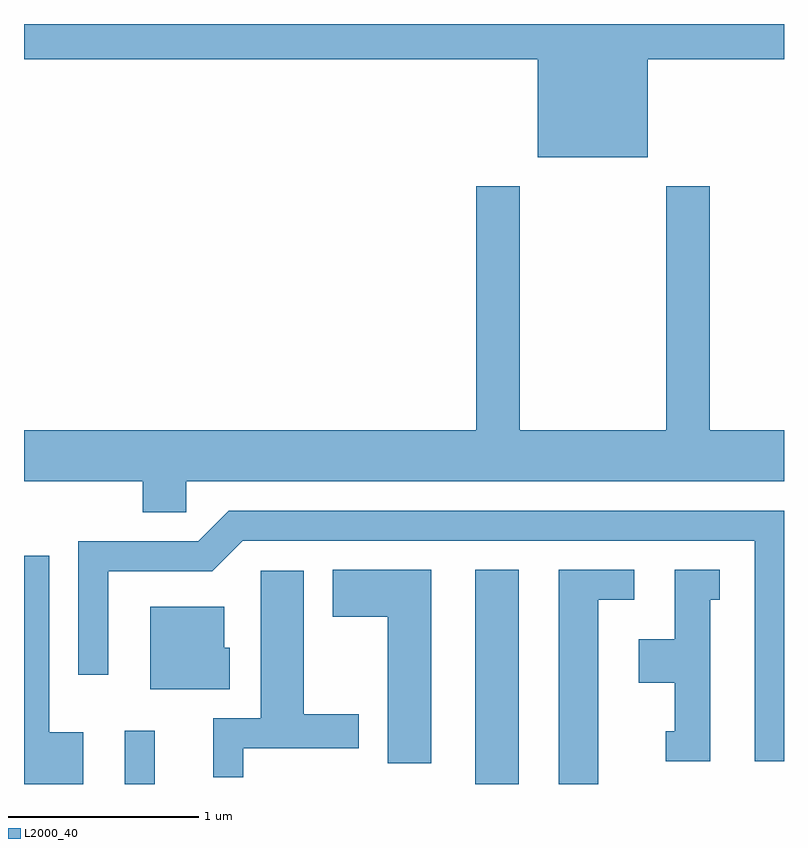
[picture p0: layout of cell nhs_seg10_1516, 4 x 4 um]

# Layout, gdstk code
import gdstk
lib = gdstk.Library(unit=1e-6, precision=1e-09)
def R(c, l, rs):  # rectangles x0, y0, x1, y1
    for r in rs: c.add(gdstk.rectangle(r[:2], r[2:], *l))
def P(c, l, *ps):  # polygons
    for p in ps: c.add(gdstk.Polygon(p, *l))
L2000_40 = (2000, 40)

nhs_seg10_1516 = lib.new_cell('nhs_seg10_1516')
R(nhs_seg10_1516, L2000_40, [(230.141,2134.522,230.299,2134.803), (231.986,2134.522,232.214,2135.649)])
P(nhs_seg10_1516, L2000_40, [(232.894,2138.336),(233.611,2138.336),(233.611,2138.522),(229.611,2138.522),(229.611,2138.336),(232.316,2138.336),(232.316,2137.821),(232.894,2137.821)],
  [(230.464,2136.116),(233.611,2136.116),(233.611,2136.384),(233.219,2136.384),(233.219,2137.669),(232.991,2137.669),(232.991,2136.384),(232.219,2136.384),(232.219,2137.669),(231.991,2137.669),(231.991,2136.384),(229.611,2136.384),(229.611,2136.116),(230.236,2136.116),(230.236,2135.951),(230.464,2135.951)],
  [(233.611,2135.959),(230.689,2135.959),(230.529,2135.799),(229.896,2135.799),(229.896,2135.098),(230.054,2135.098),(230.054,2135.641),(230.602,2135.641),(230.762,2135.801),(233.456,2135.801),(233.456,2134.641),(233.611,2134.641)],
  [(229.924,2134.794),(229.744,2134.794),(229.744,2135.723),(229.611,2135.723),(229.611,2134.522),(229.924,2134.522)],
  [(233.224,2135.491),(233.273,2135.491),(233.273,2135.649),(233.036,2135.649),(233.036,2135.284),(232.846,2135.284),(232.846,2135.056),(233.036,2135.056),(233.036,2134.799),(232.988,2134.799),(232.988,2134.641),(233.224,2134.641)],
  [(232.634,2135.491),(232.823,2135.491),(232.823,2135.649),(232.426,2135.649),(232.426,2134.522),(232.634,2134.522)],
  [(231.754,2135.649),(231.236,2135.649),(231.236,2135.401),(231.526,2135.401),(231.526,2134.631),(231.754,2134.631)],
  [(230.764,2134.711),(231.374,2134.711),(231.374,2134.889),(231.084,2134.889),(231.084,2135.644),(230.856,2135.644),(230.856,2134.869),(230.606,2134.869),(230.606,2134.558),(230.764,2134.558)],
  [(230.694,2135.239),(230.664,2135.239),(230.664,2135.454),(230.276,2135.454),(230.276,2135.021),(230.694,2135.021)])

lib.write_gds('nhs_seg10_1516.gds')
